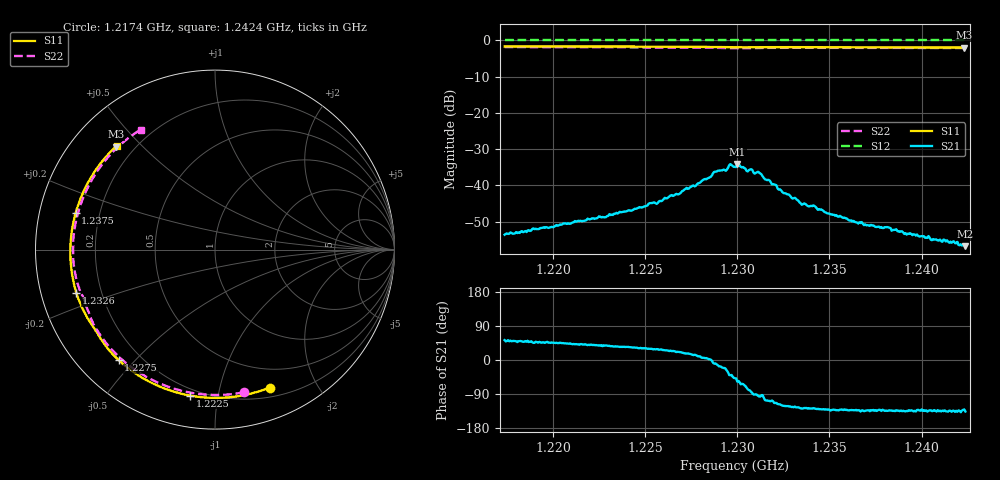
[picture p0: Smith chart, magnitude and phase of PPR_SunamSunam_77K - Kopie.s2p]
!Keysight Technologies N9918A: A.08.19
!Date: Sunday, 27 October 2019 13:12:36
!Timezone: (GMT+01:00) Brussels, Copenhagen, Madrid, Paris
!Model: N9918A
!Serial: MY53103324
!GPS Latitude:
!GPS Longitude:
!GPS TimeStamp: 0001-01-01 00:00:00Z
!GPS Seconds Since Last Read: 0
!CHECKSUM:0327846087
!Correction: S11(Rdy)S21(ON U*)S12(OFF)S22(Rdy)
!S2P File: Measurements:S11,S21,S12,S22:
# Hz S DB R 50
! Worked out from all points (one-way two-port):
!   401 points, 1.2174 GHz to 1.2424 GHz, reference 50 ohm
!   highest |S21| = -34.07 dB at 1.23 GHz (marker M1); lowest = -56.8 dB at 1.2424 GHz (marker M2)
!   lowest |S11| = -2.0 dB at 1.2423 GHz (marker M3), VSWR 8.85, Z = 6.66 + j20.9 ohm
!   |S11| at or under -10 dB: nowhere
!   |S22| runs from -2.2 to -1.8 dB; largest |S21 - S12| = 1
!   S11 on the Smith chart (normalised r, x): 1.2174 GHz: 0.29, -1.43; 1.2225 GHz: 0.16, -0.83; 1.2275 GHz: 0.12, -0.45; 1.2326 GHz: 0.11, -0.15; 1.2375 GHz: 0.11, +0.13; 1.2424 GHz: 0.13, +0.42
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1.217375e9  -1.65 -68.4  -53.60 52.4  0.00 0.0  -1.82 -78.5
1.2195e9  -1.65 -81.4  -51.53 46.6  0.00 0.0  -1.83 -91.6
1.221562e9  -1.66 -94.0  -49.90 42.0  0.00 0.0  -1.85 -104.5
1.2225e9  -1.67 -99.8  -48.54 38.7  0.00 0.0  -1.86 -110.4
1.22575e9  -1.71 -120.0  -44.40 27.0  0.00 0.0  -1.91 -131.1
1.2275e9  -1.75 -131.1  -40.37 15.2  0.00 0.0  -1.96 -142.4
1.228438e9  -1.79 -137.1  -37.94 2.6  0.00 0.0  -2.00 -148.6
1.228812e9  -1.83 -139.5  -36.22 -9.3  0.00 0.0  -2.04 -151.0
1.229312e9  -1.86 -142.6  -35.70 -21.0  0.00 0.0  -2.10 -154.1
1.229625e9  -1.90 -144.3  -34.13 -40.1  0.00 0.0  -2.11 -156.0
1.229875e9  -1.90 -145.8  -34.89 -48.1  0.00 0.0  -2.14 -157.4
1.23e9  -1.91 -146.4  -34.07 -57.1  0.00 0.0  -2.15 -157.9
1.231188e9  -1.87 -153.6  -36.47 -96.3  0.00 0.0  -2.08 -165.0
1.232562e9  -1.84 -162.5  -42.14 -121.1  0.00 0.0  -2.03 -174.1
1.2335e9  -1.85 -168.6  -45.35 -127.9  0.00 0.0  -2.03 179.8
1.234062e9  -1.86 -172.3  -45.72 -128.1  0.00 0.0  -2.03 176.1
1.234938e9  -1.87 -177.9  -47.76 -130.8  0.00 0.0  -2.04 170.3
1.2375e9  -1.91 165.4  -51.45 -132.4  0.00 0.0  -2.06 153.6
1.23825e9  -1.92 160.5  -51.64 -133.0  0.00 0.0  -2.07 148.7
1.239188e9  -1.94 154.4  -53.56 -134.6  0.00 0.0  -2.07 142.5
1.242312e9  -1.97 133.9  -56.40 -130.6  0.00 0.0  -2.08 122.2
1.242375e9  -1.97 133.5  -56.76 -135.8  0.00 0.0  -2.08 121.8
